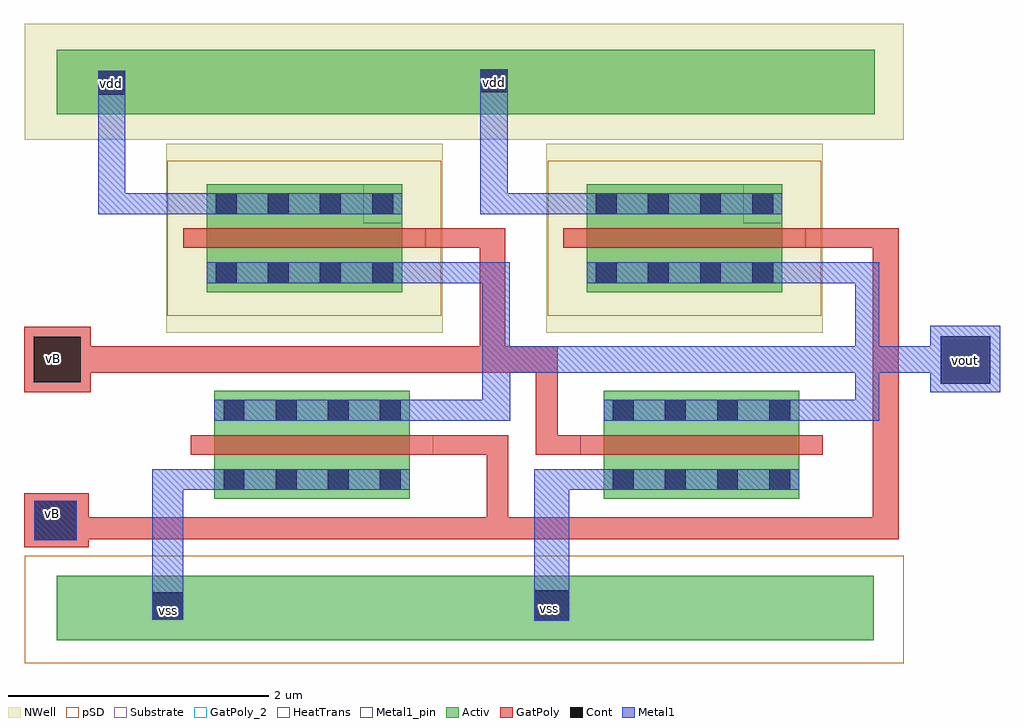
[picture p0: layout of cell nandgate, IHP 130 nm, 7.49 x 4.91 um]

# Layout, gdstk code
from math import pi, radians
import gdstk
lib = gdstk.Library(unit=1e-6, precision=5e-09)
def R(c, l, rs):  # rectangles x0, y0, x1, y1
    for r in rs: c.add(gdstk.rectangle(r[:2], r[2:], *l))
def A(c, l, x, y, w, h, nx, ny, dx, dy):  # array of equal rectangles
    R(c, l, [(x+i*dx, y+j*dy, x+i*dx+w, y+j*dy+h) for i in range(nx) for j in range(ny)])
def P(c, l, *ps):  # polygons
    for p in ps: c.add(gdstk.Polygon(p, *l))
Activ = (1, 0)
GatPoly = (5, 0)
GatPoly_2 = (5, 2)
Cont = (6, 0)
Metal1 = (8, 0)
Metal1_pin = (8, 2)
pSD = (14, 0)
NWell = (31, 0)
Substrate = (40, 0)
HeatTrans = (51, 0)

pmos = lib.new_cell('pmos')
R(pmos, Activ, [(0,0,0.3,0.3), (0,0,0.83,1.5), (0.53,0,0.83,0.3)])
R(pmos, GatPoly, [(0.34,-0.18,0.49,1.68), (0.34,-0.18,0.49,1.68)])
A(pmos, Cont, 0.07, 0.07, 0.16, 0.16, 1, 4, 0, 0.4)
A(pmos, Cont, 0.6, 0.07, 0.16, 0.16, 1, 4, 0, 0.4)
R(pmos, Metal1, [(0.07,0,0.23,1.5), (0.07,0,0.23,1.5), (0.6,0,0.76,1.5), (0.6,0,0.76,1.5)])
R(pmos, pSD, [(-0.18,-0.3,1.01,1.8)])
R(pmos, NWell, [(-0.31,-0.31,1.14,1.81)])
R(pmos, Substrate, [(0.53,0,0.83,0.3)])
R(pmos, HeatTrans, [(0.34,-0.18,0.49,1.68)])
pmos.add(gdstk.Label('pmos', (0.415,0.75), layer=63, texttype=0))
pmos.add(gdstk.Label('pmos', (0.415,0.75), layer=51, texttype=0))

nmos_1 = lib.new_cell('nmos$1')
R(nmos_1, Activ, [(0,0,0.3,0.3), (0,0,0.83,1.5), (0.53,0,0.83,0.3)])
R(nmos_1, GatPoly, [(0.34,-0.18,0.49,1.68)])
R(nmos_1, GatPoly_2, [(0.34,-0.18,0.49,1.68)])
A(nmos_1, Cont, 0.07, 0.07, 0.16, 0.16, 1, 4, 0, 0.4)
A(nmos_1, Cont, 0.6, 0.07, 0.16, 0.16, 1, 4, 0, 0.4)
R(nmos_1, Metal1, [(0.07,0,0.23,1.5), (0.6,0,0.76,1.5)])
R(nmos_1, Metal1_pin, [(0.07,0,0.23,1.5), (0.6,0,0.76,1.5)])
R(nmos_1, HeatTrans, [(0.34,-0.18,0.49,1.68)])
nmos_1.add(gdstk.Label('nmos', (0.415,0.75), layer=63, texttype=0))
nmos_1.add(gdstk.Label('nmos', (0.415,0.75), layer=51, texttype=0))

nandgate = lib.new_cell('nandgate')
R(nandgate, Activ, [(-6.465,0.82,-0.2,1.315), (-6.465,4.855,-0.19,5.35)])
P(nandgate, GatPoly, [(-6.715,2.725),(-6.715,3.225),(-6.205,3.225),(-6.205,3.075),(-3.22,3.075),(-3.22,3.83),(-3.635,3.83),(-3.635,3.98),(-3.025,3.98),(-3.025,3.075),(-2.62,3.075),(-2.62,2.875),(-6.205,2.875),(-6.205,2.725)],
  [(-3.165,1.765),(-3.165,2.245),(-3.575,2.245),(-3.575,2.395),(-3,2.395),(-3,1.765)],
  [(-6.715,1.535),(-6.715,1.95),(-6.22,1.95),(-6.22,1.765),(-0.205,1.765),(-0.205,3.83),(-0.72,3.83),(-0.72,3.98),(-0.205,3.98),(-0.005,3.98),(-0.005,1.595),(-6.22,1.595),(-6.22,1.535)],
  [(-2.79,2.245),(-2.79,2.885),(-2.62,2.885),(-2.62,2.395),(-2.45,2.395),(-2.45,2.245)])
R(nandgate, GatPoly_2, [(-6.635,1.59,-6.31,1.89), (-6.64,2.8,-6.28,3.15)])
R(nandgate, Cont, [(-2.8,0.97,-2.535,1.205), (-5.73,0.98,-5.495,1.19), (-6.635,1.59,-6.31,1.89), (0.315,2.79,0.695,3.155), (-6.64,2.8,-6.28,3.15), (-6.145,5.005,-5.94,5.19), (-3.215,5.025,-3.005,5.2)])
R(nandgate, Metal1, [(-6.635,1.59,-6.31,1.89)])
P(nandgate, Metal1, [(-5.73,0.98),(-5.73,2.135),(-5.255,2.135),(-5.255,1.975),(-5.495,1.975),(-5.495,0.98)],
  [(-2.8,0.97),(-2.8,2.135),(-2.27,2.135),(-2.27,1.975),(-2.535,1.975),(-2.535,0.97)],
  [(-3.755,2.505),(-3.755,2.665),(-3.2,2.665),(-3.2,3.56),(-3.815,3.56),(-3.815,3.72),(-2.99,3.72),(-2.99,3.075),(-0.34,3.075),(-0.34,3.56),(-0.9,3.56),(-0.9,3.72),(-0.155,3.72),(-0.155,3.075),(0.235,3.075),(0.235,3.235),(0.77,3.235),(0.77,2.725),(0.235,2.725),(0.235,2.875),(-0.155,2.875),(-0.155,2.505),(-0.77,2.505),(-0.77,2.665),(-0.34,2.665),(-0.34,2.875),(-2.985,2.875),(-2.985,2.505)],
  [(-6.145,4.09),(-6.145,5.19),(-5.94,5.19),(-5.94,4.25),(-5.315,4.25),(-5.315,4.09)],
  [(-3.215,4.09),(-3.215,5.2),(-3.005,5.2),(-3.005,4.25),(-2.4,4.25),(-2.4,4.09)])
R(nandgate, Metal1_pin, [(-2.8,0.97,-2.535,1.2), (-5.73,0.98,-5.495,1.185), (0.315,2.79,0.695,3.155), (-6.64,2.8,-6.28,3.15), (-6.145,5.005,-5.94,5.19), (-3.215,5.025,-3.005,5.2)])
P(nandgate, pSD, [(-6.71,0.645),(-6.71,1.47),(-0.615,1.47),(0.03,1.47),(0.03,0.645)])
R(nandgate, NWell, [(-6.71,4.66,0.03,5.55)])
nandgate.add(gdstk.Reference(pmos, (-0.9,3.49), rotation=pi/2))
nandgate.add(gdstk.Reference(pmos, (-3.815,3.49), rotation=pi/2))
nandgate.add(gdstk.Reference(nmos_1, (-3.755,1.905), rotation=pi/2))
nandgate.add(gdstk.Reference(nmos_1, (-0.77,1.905), rotation=pi/2))
nandgate.add(gdstk.Label('vout', (0.505,2.97), layer=8, texttype=2))
nandgate.add(gdstk.Label('vdd', (-6.045,5.095), layer=8, texttype=2))
nandgate.add(gdstk.Label('vdd', (-3.11,5.1), layer=8, texttype=2))
nandgate.add(gdstk.Label('vss', (-5.61,1.05), layer=8, texttype=2))
nandgate.add(gdstk.Label('vss', (-2.685,1.065), layer=8, texttype=2))
nandgate.add(gdstk.Label('vB', (-6.49,2.98), layer=5, texttype=2))
nandgate.add(gdstk.Label('vB', (-6.495,1.79), layer=5, texttype=2))

lib.write_gds('nandgate.gds')
